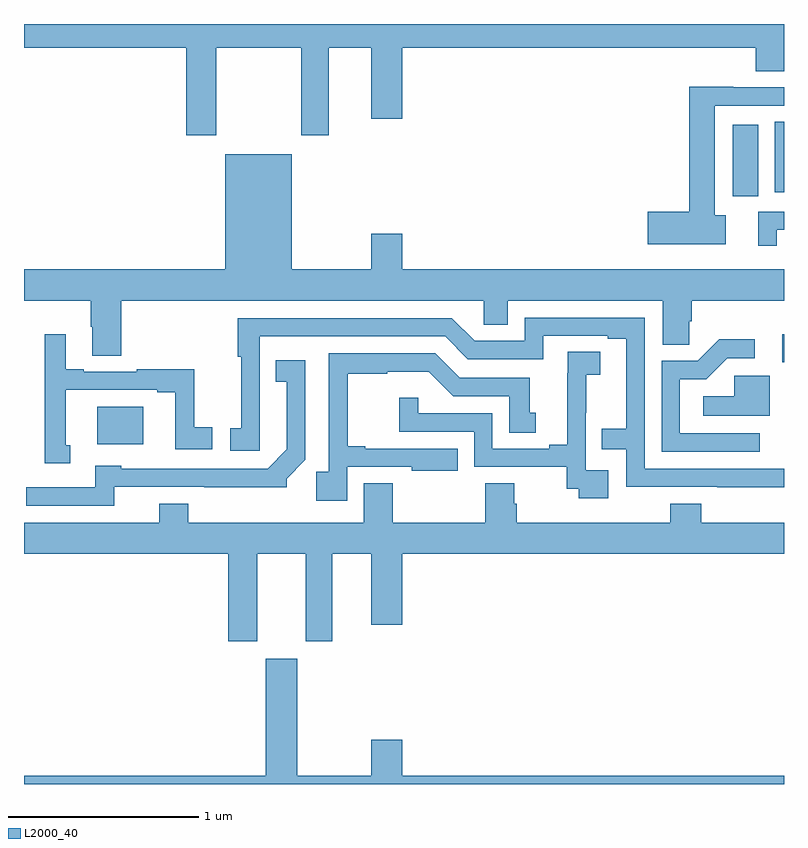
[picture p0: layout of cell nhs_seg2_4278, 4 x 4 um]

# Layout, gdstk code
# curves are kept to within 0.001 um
import gdstk
lib = gdstk.Library(unit=1e-6, precision=1e-09)
def R(c, l, rs):  # rectangles x0, y0, x1, y1
    for r in rs: c.add(gdstk.rectangle(r[:2], r[2:], *l))
def P(c, l, *ps):  # polygons
    for p in ps: c.add(gdstk.Polygon(p, *l))
L2000_40 = (2000, 40)

nhs_seg2_4278 = lib.new_cell('nhs_seg2_4278')
R(nhs_seg2_4278, L2000_40, [(343.385,605.588,343.627,605.785), (346.991,606.021,347,606.166), (346.73,606.894,346.864,607.27), (346.952,606.915,347,607.286)])
P(nhs_seg2_4278, L2000_40, [(344.013,607.676),(344.458,607.676),(344.458,607.215),(344.605,607.215),(344.605,607.676),(344.828,607.676),(344.828,607.302),(344.992,607.302),(344.992,607.676),(346.85,607.676),(346.85,607.552),(347,607.552),(347,607.8),(343,607.8),(343,607.676),(343.853,607.676),(343.853,607.215),(344.013,607.215)],
  [(346.693,606.794),(346.636,606.794),(346.636,607.371),(347,607.371),(347,607.467),(346.732,607.467),(346.732,607.469),(346.502,607.469),(346.502,606.812),(346.284,606.812),(346.284,606.641),(346.693,606.641)],
  [(345.42,606.217),(345.547,606.217),(345.547,606.344),(346.361,606.344),(346.361,606.112),(346.5,606.112),(346.5,606.235),(346.514,606.235),(346.514,606.344),(347,606.344),(347,606.508),(344.992,606.508),(344.992,606.697),(344.828,606.697),(344.828,606.508),(344.41,606.508),(344.41,607.114),(344.06,607.114),(344.06,606.508),(343,606.508),(343,606.344),(343.351,606.344),(343.351,606.206),(343.358,606.206),(343.358,606.055),(343.511,606.055),(343.511,606.344),(345.42,606.344)],
  [(346.963,606.717),(347,606.717),(347,606.813),(346.865,606.813),(346.865,606.633),(346.963,606.633)],
  [(347,605.46),(346.266,605.46),(346.266,606.255),(345.636,606.255),(345.636,606.132),(345.372,606.132),(345.252,606.252),(344.125,606.252),(344.125,606.049),(344.143,606.049),(344.143,605.673),(344.085,605.673),(344.085,605.553),(344.242,605.553),(344.241,606.156),(345.216,606.156),(345.336,606.036),(345.732,606.036),(345.732,606.159),(346.073,606.159),(346.073,606.144),(346.169,606.144),(346.169,605.671),(346.042,605.671),(346.042,605.562),(346.17,605.562),(346.17,605.364),(347,605.363)],
  [(343.243,605.583),(343.219,605.583),(343.219,605.874),(343.7,605.874),(343.7,605.862),(343.796,605.862),(343.796,605.562),(343.99,605.562),(343.99,605.678),(343.896,605.678),(343.896,605.983),(343.594,605.983),(343.594,605.97),(343.315,605.97),(343.315,605.983),(343.219,605.983),(343.219,606.166),(343.109,606.166),(343.109,605.921),(343.11,605.921),(343.11,605.489),(343.243,605.489)],
  [(346.873,605.646),(346.452,605.646),(346.452,605.931),(346.59,605.931),(346.701,606.042),(346.846,606.042),(346.846,606.14),(346.658,606.14),(346.545,606.027),(346.356,606.027),(346.356,605.55),(346.873,605.55)],
  [(346.075,605.451),(345.957,605.451),(345.957,605.755),(345.959,605.755),(345.959,605.953),(346.033,605.953),(346.033,606.074),(345.862,606.074),(345.862,605.963),(345.86,605.963),(345.86,605.585),(345.764,605.585),(345.764,605.565),(345.465,605.565),(345.465,605.751),(345.075,605.751),(345.075,605.833),(344.974,605.833),(344.974,605.655),(345.369,605.655),(345.369,605.469),(345.856,605.469),(345.856,605.355),(345.919,605.355),(345.919,605.304),(346.075,605.304)],
  [(344.7,605.469),(345.041,605.469),(345.041,605.45),(345.284,605.45),(345.284,605.565),(344.797,605.565),(344.797,605.578),(344.705,605.578),(344.705,605.958),(344.912,605.958),(344.912,605.969),(345.13,605.969),(345.258,605.841),(345.554,605.841),(345.554,605.65),(345.694,605.65),(345.694,605.754),(345.661,605.754),(345.661,605.937),(345.294,605.937),(345.165,606.066),(344.604,606.066),(344.604,605.443),(344.539,605.443),(344.539,605.292),(344.7,605.292)],
  [(343.476,605.364),(344.382,605.363),(344.382,605.407),(344.481,605.506),(344.481,606.031),(344.326,606.031),(344.326,605.918),(344.384,605.918),(344.384,605.561),(344.283,605.46),(343.512,605.46),(343.512,605.476),(343.376,605.476),(343.376,605.361),(343.012,605.361),(343.012,605.265),(343.476,605.265)],
  [(346.924,605.949),(346.737,605.949),(346.737,605.842),(346.575,605.842),(346.575,605.738),(346.924,605.738)],
  [(344.227,605.012),(344.483,605.012),(344.483,604.551),(344.623,604.551),(344.623,605.012),(344.828,605.012),(344.828,604.638),(344.992,604.638),(344.992,605.012),(347,605.012),(347,605.176),(346.565,605.176),(346.565,605.275),(346.4,605.275),(346.4,605.176),(345.593,605.176),(345.593,605.274),(345.58,605.274),(345.58,605.384),(345.428,605.384),(345.428,605.176),(344.942,605.176),(344.942,605.384),(344.789,605.384),(344.789,605.176),(343.865,605.176),(343.865,605.275),(343.712,605.275),(343.712,605.176),(343,605.176),(343,605.012),(344.075,605.012),(344.075,604.551),(344.227,604.551)],
  [(347,603.844),(344.992,603.844),(344.992,604.033),(344.828,604.033),(344.828,603.844),(344.437,603.844),(344.437,604.459),(344.273,604.459),(344.273,603.844),(343,603.844),(343,603.8),(347,603.8)])

lib.write_gds('nhs_seg2_4278.gds')
